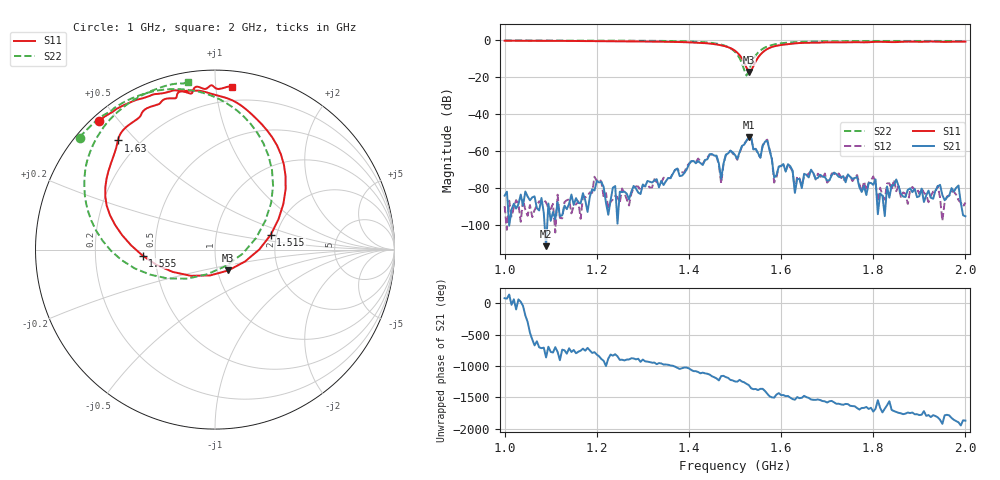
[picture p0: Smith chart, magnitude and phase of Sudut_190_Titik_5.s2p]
# Hz S RI R 50
! CMT, C1220, 16058040, 17.2.0/1
! Date: 14/08/2018 11:49:06
! Data: Format (Calibration Info)
! Freq  S11: Re/Im (F2)  S21: Re/Im (F2)  S12: Re/Im (F2)  S22: Re/Im (F2)
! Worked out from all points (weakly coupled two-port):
!   201 points, 1 GHz to 2 GHz, reference 50 ohm
!   highest |S21| = -52.70 dB at 1.53 GHz (marker M1); lowest = -111.7 dB at 1.09 GHz (marker M2)
!   lowest |S11| = -17.2 dB at 1.53 GHz (marker M3), VSWR 1.32, Z = 56.3 - j13.3 ohm
!   |S11| at or under -10 dB: 1.515 GHz to 1.549 GHz (33.32 MHz wide, 2.17 % of centre)
!   |S22| runs from -19.2 to -0.2 dB; largest |S21 - S12| = 0.00017
!   S11 on the Smith chart (normalised r, x): 1 GHz: 0.02, +0.44; 1.515 GHz: 1.86, +0.34; 1.555 GHz: 0.42, -0.03; 1.63 GHz: 0.12, +0.44; 2 GHz: 0.11, +1.11
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1e9  -0.6479 0.7147  9.27e-06 6.03e-05  3.16e-05 -4.16e-06  -0.7549 0.6245
1.09e9  -0.5549 0.7794  -2.06e-06 -1.6e-06  3.17e-05 2.46e-05  -0.6896 0.6918
1.17e9  -0.4685 0.8218  7.11e-05 -2.94e-06  5.44e-05 -1.72e-05  -0.6181 0.7507
1.195e9  -0.4306 0.8366  4.42e-05 -7.18e-05  2.21e-05 -0.000197  -0.5885 0.7643
1.215e9  -0.41 0.8414  -0.000101 2.96e-05  -5.51e-05 1.16e-06  -0.5771 0.7728
1.335e9  -0.2046 0.8856  -6.22e-05 8.12e-05  -1.9e-06 0.000143  -0.4007 0.8662
1.445e9  0.1609 0.7911  0.000456 -0.000654  0.00043 -0.000695  -0.00913 0.8534
1.46e9  0.2341 0.7255  -0.000337 -0.000662  -0.000349 -0.000593  0.0897 0.799
1.47e9  0.2916 0.6622  3.28e-05 -0.000173  3.04e-05 -0.000127  0.1622 0.7398
1.48e9  0.3461 0.5794  -7.94e-05 -0.000788  -3.79e-05 -0.000744  0.2359 0.6504
1.5e9  0.3935 0.336  -0.00075 -0.000199  -0.000725 -0.00016  0.3237 0.3558
1.515e9  0.3106 0.0827  -0.00132 -0.000321  -0.00127 -0.000327  0.2284 0.0642
1.53e9  0.0739 -0.1162  -0.0017 0.00158  -0.00166 0.00157  -0.0437 -0.1375
1.555e9  -0.4036 -0.0334  0.000142 0.000635  0.000145 0.000641  -0.5215 -0.0577
1.57e9  -0.5558 0.136  0.00187 5.49e-06  0.00201 -3.27e-05  -0.6615 0.1042
1.585e9  -0.6113 0.2977  8.54e-05 -0.000168  6.77e-05 -0.00012  -0.7176 0.2548
1.595e9  -0.6043 0.3943  0.000369 5.26e-05  0.000371 3.23e-05  -0.7275 0.339
1.615e9  -0.5588 0.5396  0.00035 -0.000259  0.000348 -0.000236  -0.7185 0.4688
1.63e9  -0.5412 0.6082  -7.65e-06 -7.22e-05  -2.41e-06 -8.59e-05  -0.6968 0.5414
1.67e9  -0.4315 0.7285  -3.05e-05 -0.000247  -4.51e-05 -0.000254  -0.6277 0.6719
1.835e9  -0.139 0.8696  -2.77e-05 -4.61e-05  -6.63e-05 0.000115  -0.3768 0.8744
2e9  0.0961 0.9032  5.9e-06 -1.58e-05  -1.07e-06 -3.97e-05  -0.1518 0.9341
